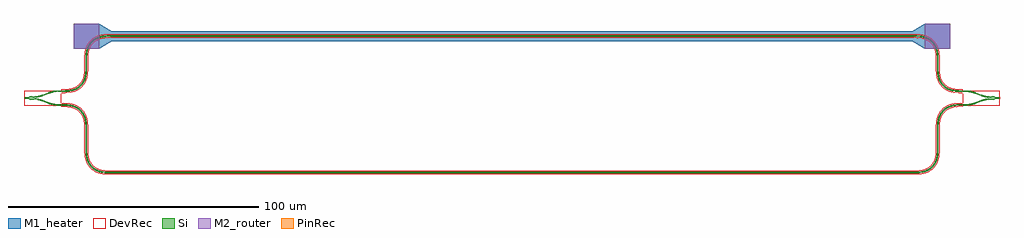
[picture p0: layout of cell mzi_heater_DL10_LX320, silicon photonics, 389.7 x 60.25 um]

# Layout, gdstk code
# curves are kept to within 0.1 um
from math import pi, radians
import gdstk
lib = gdstk.Library(unit=1e-6, precision=1e-09)
def R(c, l, rs):  # rectangles x0, y0, x1, y1
    for r in rs: c.add(gdstk.rectangle(r[:2], r[2:], *l))
def P(c, l, *ps):  # polygons
    for p in ps: c.add(gdstk.Polygon(p, *l))
Si = (1, 0)
PinRec = (1, 10)
M1_heater = (11, 0)
M2_router = (12, 0)
DevRec = (68, 0)

bend_euler_csstrip = lib.new_cell('bend_euler_CSstrip')
P(bend_euler_csstrip, Si, [(0,-0.25),(0,0.25),(2.881,0.353),(3.952,0.52),(4.99,0.806),(6.431,1.505),(7.575,2.425),(8.495,3.569),(9.194,5.01),(9.48,6.048),(9.647,7.119),(9.75,10),(10.25,10),(10.158,7.205),(9.797,5.254),(9.457,4.312),(9.066,3.545),(8.5,2.715),(7.928,2.072),(7.285,1.5),(6.455,0.934),(5.688,0.543),(4.746,0.203),(2.795,-0.158)])
P(bend_euler_csstrip, DevRec, [(0,-0.75),(0,0.75),(2.697,0.837),(4.466,1.163),(5.95,1.797),(7.221,2.779),(8.203,4.05),(8.837,5.534),(9.163,7.303),(9.25,10),(10.75,10),(10.656,7.156),(10.277,5.114),(9.497,3.292),(8.282,1.718),(6.708,0.503),(4.886,-0.277),(2.844,-0.656)])

straight_l2_n2_csstrip = lib.new_cell('straight_L2_N2_CSstrip')
R(straight_l2_n2_csstrip, Si, [(0,-0.25,2,0.25)])
R(straight_l2_n2_csstrip, DevRec, [(0,-0.75,2,0.75)])

straight_l7_n2_csstrip = lib.new_cell('straight_L7_N2_CSstrip')
R(straight_l7_n2_csstrip, Si, [(0,-0.25,7,0.25)])
R(straight_l7_n2_csstrip, DevRec, [(0,-0.75,7,0.75)])

ebeam_y_1550 = lib.new_cell('ebeam_y_1550')
R(ebeam_y_1550, Si, [(6.5,-3,7.4,-2.5), (-7.4,-0.25,-6,0.25), (6.5,2.5,7.4,3)])
P(ebeam_y_1550, Si, [(6.458,-3),(6.237,-2.997),(6.237,-2.497),(6.5,-2.5),(6.5,-3)],
  [(5.033,-2.908),(3.59,-2.634),(2.265,-2.21),(2.445,-1.744),(3.731,-2.154),(5.033,-2.404)],
  [(6.233,-2.997),(5.033,-2.908),(5.033,-2.404),(6.237,-2.497)],
  [(2.265,-2.21),(0.055,-1.356),(0.235,-0.89),(2.445,-1.744)],
  [(-0.762,-1.076),(-2.334,-0.724),(-4,-0.6),(-4,-0.1),(-2.381,-0.212),(-0.762,-0.555)],
  [(0.055,-1.356),(-0.762,-1.076),(-0.762,-0.555),(0.235,-0.89)],
  [(6.237,2.497),(6.237,2.997),(6.5,3),(6.5,2.5)],
  [(2.445,1.744),(2.267,2.211),(3.59,2.634),(5.033,2.908),(5.033,2.404),(3.731,2.154)],
  [(5.033,2.404),(5.033,2.908),(6.237,2.997),(6.237,2.497)],
  [(0.235,0.89),(0.055,1.356),(2.265,2.21),(2.445,1.744)],
  [(-4,0.1),(-4,0.6),(-2.334,0.724),(-0.762,1.076),(-0.762,0.555),(-2.381,0.212)],
  [(-0.762,0.555),(-0.762,1.076),(0.055,1.356),(0.235,0.89)],
  [(-5.122,-0.662),(-5.442,-0.374),(-5.808,-0.255),(-6,-0.25),(-6,0.25),(-5.817,0.253),(-5.442,0.374),(-5.122,0.662)],
  [(-4.957,-0.703),(-5.122,-0.662),(-5.122,0.662),(-4.538,0.703),(-4,0.6),(-4,-0.6)])
R(ebeam_y_1550, DevRec, [(-7.4,-3,7.4,3)])
ebeam_y_1550.add(gdstk.FlexPath([(-7.35,0),(-7.45,0)], 0.5, ends="flush", simple_path=True, layer=1, datatype=10))  # PinRec
ebeam_y_1550.add(gdstk.FlexPath([(7.395,2.75),(7.405,2.75)], 0.5, ends="flush", simple_path=True, layer=1, datatype=10))  # PinRec
ebeam_y_1550.add(gdstk.FlexPath([(7.395,-2.75),(7.405,-2.75)], 0.5, ends="flush", simple_path=True, layer=1, datatype=10))  # PinRec
ebeam_y_1550.add(gdstk.Label('o1', (-7.4,0), layer=1, texttype=10))
ebeam_y_1550.add(gdstk.Label('o2', (7.4,2.75), layer=1, texttype=10))
ebeam_y_1550.add(gdstk.Label('o3', (7.4,-2.75), layer=1, texttype=10))
ebeam_y_1550.add(gdstk.Label('Ref: Y Zhang, Opt. Express, 21/1, 2013', (-5.65,-1), layer=10, texttype=0))

via_stack_heater_mtop_s1 = lib.new_cell('via_stack_heater_mtop_S10_10')
R(via_stack_heater_mtop_s1, M1_heater, [(-5,-5,5,5)])
R(via_stack_heater_mtop_s1, M2_router, [(-5,-5,5,5)])

taper_l5_w10_w4_pnone_w_ = lib.new_cell('taper_L5_W10_W4_PNone_W_9659be32')
P(taper_l5_w10_w4_pnone_w_, M1_heater, [(0,-5),(0,5),(5,2),(5,-2)])

straight_l0p1_n2_csstrip = lib.new_cell('straight_L0p1_N2_CSstrip')
R(straight_l0p1_n2_csstrip, Si, [(0,-0.25,0.1,0.25)])
R(straight_l0p1_n2_csstrip, DevRec, [(0,-0.75,0.1,0.75)])

straight_l2p4_n2_csstri_ = lib.new_cell('straight_L2p4_N2_CSstri_39572eeb')
R(straight_l2p4_n2_csstri_, Si, [(0,-0.25,2.4,0.25)])
R(straight_l2p4_n2_csstri_, M1_heater, [(0,-2,2.4,2)])
R(straight_l2p4_n2_csstri_, DevRec, [(0,-0.75,2.4,0.75)])

straight_l5_n2_csstrip__ = lib.new_cell('straight_L5_N2_CSstrip__489d0ccd')
R(straight_l5_n2_csstrip__, Si, [(0,-0.25,5,0.25)])
R(straight_l5_n2_csstrip__, M1_heater, [(0,-2,5,2)])
R(straight_l5_n2_csstrip__, DevRec, [(0,-0.75,5,0.75)])

straight_heater_metal_l_ = lib.new_cell('straight_heater_metal_L_32c21700')
straight_heater_metal_l_.add(gdstk.Reference(via_stack_heater_mtop_s1, (-9.9,0)))
straight_heater_metal_l_.add(gdstk.Reference(via_stack_heater_mtop_s1, (329.9,0)))
straight_heater_metal_l_.add(gdstk.Reference(taper_l5_w10_w4_pnone_w_, (-4.9,0)))
straight_heater_metal_l_.add(gdstk.Reference(taper_l5_w10_w4_pnone_w_, (324.9,0), rotation=pi))
straight_heater_metal_l_.add(gdstk.Reference(straight_l0p1_n2_csstrip, (0,0)))
straight_heater_metal_l_.add(gdstk.Reference(straight_l2p4_n2_csstri_, (0.1,0)))
straight_heater_metal_l_.add(gdstk.Reference(straight_l5_n2_csstrip__, (2.5,0)))
straight_heater_metal_l_.add(gdstk.Reference(straight_l5_n2_csstrip__, (7.5,0)))
straight_heater_metal_l_.add(gdstk.Reference(straight_l5_n2_csstrip__, (12.5,0)))
straight_heater_metal_l_.add(gdstk.Reference(straight_l5_n2_csstrip__, (17.5,0)))
straight_heater_metal_l_.add(gdstk.Reference(straight_l5_n2_csstrip__, (22.5,0)))
straight_heater_metal_l_.add(gdstk.Reference(straight_l5_n2_csstrip__, (27.5,0)))
straight_heater_metal_l_.add(gdstk.Reference(straight_l5_n2_csstrip__, (32.5,0)))
straight_heater_metal_l_.add(gdstk.Reference(straight_l5_n2_csstrip__, (37.5,0)))
straight_heater_metal_l_.add(gdstk.Reference(straight_l5_n2_csstrip__, (42.5,0)))
straight_heater_metal_l_.add(gdstk.Reference(straight_l5_n2_csstrip__, (47.5,0)))
straight_heater_metal_l_.add(gdstk.Reference(straight_l5_n2_csstrip__, (52.5,0)))
straight_heater_metal_l_.add(gdstk.Reference(straight_l5_n2_csstrip__, (57.5,0)))
straight_heater_metal_l_.add(gdstk.Reference(straight_l5_n2_csstrip__, (62.5,0)))
straight_heater_metal_l_.add(gdstk.Reference(straight_l5_n2_csstrip__, (67.5,0)))
straight_heater_metal_l_.add(gdstk.Reference(straight_l5_n2_csstrip__, (72.5,0)))
straight_heater_metal_l_.add(gdstk.Reference(straight_l5_n2_csstrip__, (77.5,0)))
straight_heater_metal_l_.add(gdstk.Reference(straight_l5_n2_csstrip__, (82.5,0)))
straight_heater_metal_l_.add(gdstk.Reference(straight_l5_n2_csstrip__, (87.5,0)))
straight_heater_metal_l_.add(gdstk.Reference(straight_l5_n2_csstrip__, (92.5,0)))
straight_heater_metal_l_.add(gdstk.Reference(straight_l5_n2_csstrip__, (97.5,0)))
straight_heater_metal_l_.add(gdstk.Reference(straight_l5_n2_csstrip__, (102.5,0)))
straight_heater_metal_l_.add(gdstk.Reference(straight_l5_n2_csstrip__, (107.5,0)))
straight_heater_metal_l_.add(gdstk.Reference(straight_l5_n2_csstrip__, (112.5,0)))
straight_heater_metal_l_.add(gdstk.Reference(straight_l5_n2_csstrip__, (117.5,0)))
straight_heater_metal_l_.add(gdstk.Reference(straight_l5_n2_csstrip__, (122.5,0)))
straight_heater_metal_l_.add(gdstk.Reference(straight_l5_n2_csstrip__, (127.5,0)))
straight_heater_metal_l_.add(gdstk.Reference(straight_l5_n2_csstrip__, (132.5,0)))
straight_heater_metal_l_.add(gdstk.Reference(straight_l5_n2_csstrip__, (137.5,0)))
straight_heater_metal_l_.add(gdstk.Reference(straight_l5_n2_csstrip__, (142.5,0)))
straight_heater_metal_l_.add(gdstk.Reference(straight_l5_n2_csstrip__, (147.5,0)))
straight_heater_metal_l_.add(gdstk.Reference(straight_l5_n2_csstrip__, (152.5,0)))
straight_heater_metal_l_.add(gdstk.Reference(straight_l5_n2_csstrip__, (157.5,0)))
straight_heater_metal_l_.add(gdstk.Reference(straight_l5_n2_csstrip__, (162.5,0)))
straight_heater_metal_l_.add(gdstk.Reference(straight_l5_n2_csstrip__, (167.5,0)))
straight_heater_metal_l_.add(gdstk.Reference(straight_l5_n2_csstrip__, (172.5,0)))
straight_heater_metal_l_.add(gdstk.Reference(straight_l5_n2_csstrip__, (177.5,0)))
straight_heater_metal_l_.add(gdstk.Reference(straight_l5_n2_csstrip__, (182.5,0)))
straight_heater_metal_l_.add(gdstk.Reference(straight_l5_n2_csstrip__, (187.5,0)))
straight_heater_metal_l_.add(gdstk.Reference(straight_l5_n2_csstrip__, (192.5,0)))
straight_heater_metal_l_.add(gdstk.Reference(straight_l5_n2_csstrip__, (197.5,0)))
straight_heater_metal_l_.add(gdstk.Reference(straight_l5_n2_csstrip__, (202.5,0)))
straight_heater_metal_l_.add(gdstk.Reference(straight_l5_n2_csstrip__, (207.5,0)))
straight_heater_metal_l_.add(gdstk.Reference(straight_l5_n2_csstrip__, (212.5,0)))
straight_heater_metal_l_.add(gdstk.Reference(straight_l5_n2_csstrip__, (217.5,0)))
straight_heater_metal_l_.add(gdstk.Reference(straight_l5_n2_csstrip__, (222.5,0)))
straight_heater_metal_l_.add(gdstk.Reference(straight_l5_n2_csstrip__, (227.5,0)))
straight_heater_metal_l_.add(gdstk.Reference(straight_l5_n2_csstrip__, (232.5,0)))
straight_heater_metal_l_.add(gdstk.Reference(straight_l5_n2_csstrip__, (237.5,0)))
straight_heater_metal_l_.add(gdstk.Reference(straight_l5_n2_csstrip__, (242.5,0)))
straight_heater_metal_l_.add(gdstk.Reference(straight_l5_n2_csstrip__, (247.5,0)))
straight_heater_metal_l_.add(gdstk.Reference(straight_l5_n2_csstrip__, (252.5,0)))
straight_heater_metal_l_.add(gdstk.Reference(straight_l5_n2_csstrip__, (257.5,0)))
straight_heater_metal_l_.add(gdstk.Reference(straight_l5_n2_csstrip__, (262.5,0)))
straight_heater_metal_l_.add(gdstk.Reference(straight_l5_n2_csstrip__, (267.5,0)))
straight_heater_metal_l_.add(gdstk.Reference(straight_l5_n2_csstrip__, (272.5,0)))
straight_heater_metal_l_.add(gdstk.Reference(straight_l5_n2_csstrip__, (277.5,0)))
straight_heater_metal_l_.add(gdstk.Reference(straight_l5_n2_csstrip__, (282.5,0)))
straight_heater_metal_l_.add(gdstk.Reference(straight_l5_n2_csstrip__, (287.5,0)))
straight_heater_metal_l_.add(gdstk.Reference(straight_l5_n2_csstrip__, (292.5,0)))
straight_heater_metal_l_.add(gdstk.Reference(straight_l5_n2_csstrip__, (297.5,0)))
straight_heater_metal_l_.add(gdstk.Reference(straight_l5_n2_csstrip__, (302.5,0)))
straight_heater_metal_l_.add(gdstk.Reference(straight_l5_n2_csstrip__, (307.5,0)))
straight_heater_metal_l_.add(gdstk.Reference(straight_l5_n2_csstrip__, (312.5,0)))
straight_heater_metal_l_.add(gdstk.Reference(straight_l2p4_n2_csstri_, (317.5,0)))
straight_heater_metal_l_.add(gdstk.Reference(straight_l0p1_n2_csstrip, (319.9,0)))

straight_l320_n2_csstrip = lib.new_cell('straight_L320_N2_CSstrip')
R(straight_l320_n2_csstrip, Si, [(0,-0.25,320,0.25)])
R(straight_l320_n2_csstrip, DevRec, [(0,-0.75,320,0.75)])

mzi_heater_dl10_lx320 = lib.new_cell('mzi_heater_DL10_LX320')
mzi_heater_dl10_lx320.add(gdstk.Reference(bend_euler_csstrip, (7.4,-2.75), x_reflection=True))
mzi_heater_dl10_lx320.add(gdstk.Reference(bend_euler_csstrip, (17.4,-19.75), rotation=3*pi/2))
mzi_heater_dl10_lx320.add(gdstk.Reference(bend_euler_csstrip, (7.4,2.75)))
mzi_heater_dl10_lx320.add(gdstk.Reference(bend_euler_csstrip, (27.4,24.75), rotation=pi))
mzi_heater_dl10_lx320.add(gdstk.Reference(bend_euler_csstrip, (357.4,14.75), rotation=pi/2))
mzi_heater_dl10_lx320.add(gdstk.Reference(straight_l2_n2_csstrip, (357.4,12.75), rotation=pi/2))
mzi_heater_dl10_lx320.add(gdstk.Reference(bend_euler_csstrip, (357.4,12.75), rotation=3*pi/2))
mzi_heater_dl10_lx320.add(gdstk.Reference(bend_euler_csstrip, (347.4,-29.75)))
mzi_heater_dl10_lx320.add(gdstk.Reference(straight_l7_n2_csstrip, (357.4,-19.75), rotation=pi/2))
mzi_heater_dl10_lx320.add(gdstk.Reference(bend_euler_csstrip, (367.4,-2.75), rotation=pi))
mzi_heater_dl10_lx320.add(gdstk.Reference(ebeam_y_1550, (0,0)))
mzi_heater_dl10_lx320.add(gdstk.Reference(straight_l2_n2_csstrip, (17.4,12.75), rotation=pi/2))
mzi_heater_dl10_lx320.add(gdstk.Reference(straight_l7_n2_csstrip, (17.4,-12.75), rotation=3*pi/2))
mzi_heater_dl10_lx320.add(gdstk.Reference(straight_heater_metal_l_, (27.4,24.75)))
mzi_heater_dl10_lx320.add(gdstk.Reference(straight_l320_n2_csstrip, (27.4,-29.75)))
mzi_heater_dl10_lx320.add(gdstk.Reference(ebeam_y_1550, (374.8,0), rotation=pi, x_reflection=True))

lib.write_gds('mzi_heater_DL10_LX320.gds')
